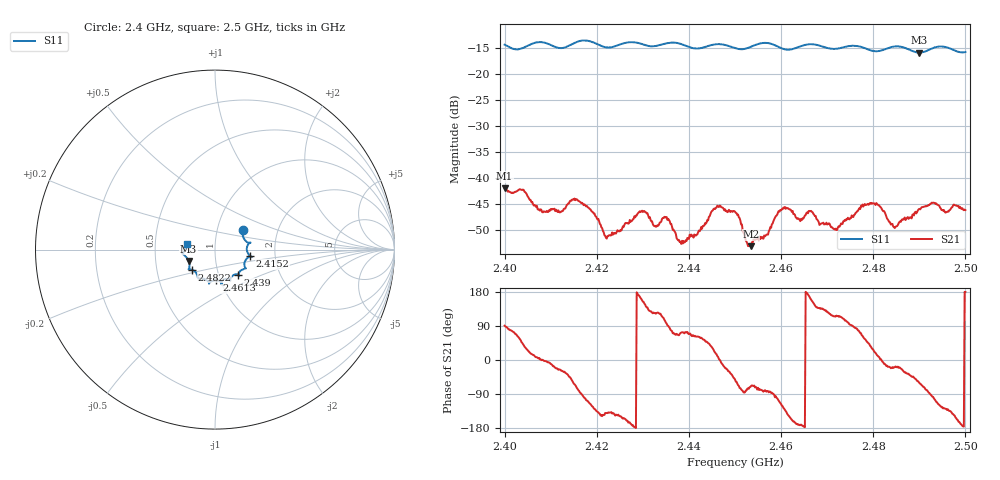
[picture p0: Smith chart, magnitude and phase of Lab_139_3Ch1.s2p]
# Hz S RI R 50
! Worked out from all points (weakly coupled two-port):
!   601 points, 2.4 GHz to 2.5 GHz, reference 50 ohm
!   highest |S21| = -41.88 dB at 2.4 GHz (marker M1); lowest = -53.0 dB at 2.4535 GHz (marker M2)
!   lowest |S11| = -15.9 dB at 2.49 GHz (marker M3), VSWR 1.38, Z = 36.9 - j4.85 ohm
!   |S11| at or under -10 dB: start of sweep to end of sweep
!   S12 and S22 are empty: the file has one direction only
!   S11 on the Smith chart (normalised r, x): 2.4 GHz: 1.33, +0.31; 2.4152 GHz: 1.48, -0.11; 2.439 GHz: 1.24, -0.36; 2.4613 GHz: 0.96, -0.34; 2.4822 GHz: 0.76, -0.17; 2.5 GHz: 0.72, +0.05
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2.4e9  0.1556 0.1108  -7.63e-05 0.00806  0 0  0 0
2.404e9  0.171 0.0481  0.00581 0.0052  0 0  0 0
2.4085e9  0.1965 0.0394  0.00482 -0.000161  0 0  0 0
2.415167e9  0.1949 -0.0358  0.00277 -0.00576  0 0  0 0
2.416667e9  0.2044 -0.0417  6.69e-05 -0.00577  0 0  0 0
2.422167e9  0.169 -0.0614  -0.00202 -0.00171  0 0  0 0
2.429667e9  0.1623 -0.1072  -0.00457 0.00156  0 0  0 0
2.433333e9  0.1326 -0.1328  -0.00202 0.00288  0 0  0 0
2.435167e9  0.1323 -0.1458  -0.000441 0.00423  0 0  0 0
2.439e9  0.1276 -0.139  0.000821 0.00228  0 0  0 0
2.445833e9  0.0847 -0.1731  0.00498 0.00151  0 0  0 0
2.45e9  0.0687 -0.1633  0.00299 -0.00373  0 0  0 0
2.4535e9  0.0363 -0.1791  0.000824 -0.00208  0 0  0 0
2.461333e9  0.00774 -0.1707  -0.00408 -0.00317  0 0  0 0
2.464e9  -0.0267 -0.1811  -0.00397 -0.000551  0 0  0 0
2.466667e9  -0.0333 -0.19  -0.00438 0.00191  0 0  0 0
2.471667e9  -0.0615 -0.1627  -0.00137 0.00291  0 0  0 0
2.477833e9  -0.0967 -0.1507  0.00262 0.00467  0 0  0 0
2.482167e9  -0.1283 -0.1118  0.00482 -0.000527  0 0  0 0
2.483333e9  -0.1395 -0.1102  0.00373 -0.0012  0 0  0 0
2.49e9  -0.1469 -0.064  0.00256 -0.00442  0 0  0 0
2.5e9  -0.1587 0.0338  -0.00495 5.06e-05  0 0  0 0
